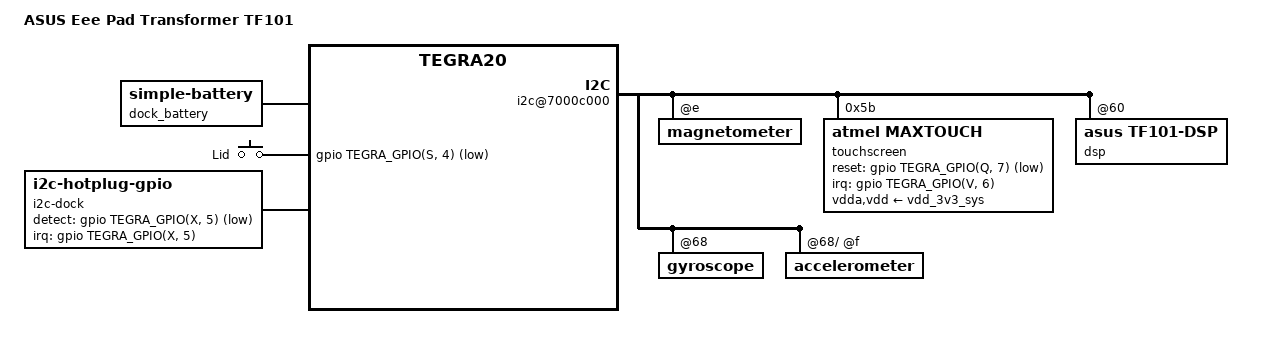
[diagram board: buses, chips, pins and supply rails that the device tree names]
// SPDX-License-Identifier: GPL-2.0
/dts-v1/;

#include "tegra20-asus-transformer-common.dtsi"

/ {
	model = "ASUS Eee Pad Transformer TF101";
	compatible = "asus,tf101", "nvidia,tegra20";

	i2c@7000c000 {
		magnetometer@e {
			mount-matrix = "-1",  "0",  "0",
					"0",  "1",  "0",
					"0",  "0", "-1";
		};

		/* Atmel MXT1386 Touchscreen */
		touchscreen@5b {
			compatible = "atmel,maxtouch";
			reg = <0x5b>;

			interrupt-parent = <&gpio>;
			interrupts = <TEGRA_GPIO(V, 6) IRQ_TYPE_LEVEL_LOW>;

			reset-gpios = <&gpio TEGRA_GPIO(Q, 7) GPIO_ACTIVE_LOW>;

			vdda-supply = <&vdd_3v3_sys>;
			vdd-supply  = <&vdd_3v3_sys>;

			atmel,wakeup-method = <ATMEL_MXT_WAKEUP_I2C_SCL>;
		};

		dsp@60 {
			compatible = "asus,tf101-dsp", "fortemedia,fm34";
		};

		gyroscope@68 {
			mount-matrix =	 "0",  "1",  "0",
					"-1",  "0",  "0",
					 "0",  "0",  "1";

			i2c-gate {
				accelerometer@f {
					mount-matrix =	"-1",  "0",  "0",
							 "0", "-1",  "0",
							 "0",  "0", "-1";
				};
			};
		};
	};

	dock_battery: battery-cell {
		compatible = "simple-battery";
		device-chemistry = "lithium-ion-polymer";
		charge-full-design-microamp-hours = <3300000>;
		energy-full-design-microwatt-hours = <24000000>;
		operating-range-celsius = <0 45>;
	};

	extcon-keys {
		compatible = "gpio-keys";

		switch-dock-hall-sensor {
			label = "Lid";
			gpios = <&gpio TEGRA_GPIO(S, 4) GPIO_ACTIVE_LOW>;
			linux,input-type = <EV_SW>;
			linux,code = <SW_LID>;
			debounce-interval = <500>;
			wakeup-event-action = <EV_ACT_ASSERTED>;
			wakeup-source;
		};
	};

	i2c-dock {
		compatible = "i2c-hotplug-gpio";

		#address-cells = <1>;
		#size-cells = <0>;

		interrupt-parent = <&gpio>;
		interrupts = <TEGRA_GPIO(X, 5) IRQ_TYPE_EDGE_BOTH>;
		detect-gpios = <&gpio TEGRA_GPIO(X, 5) GPIO_ACTIVE_LOW>;

		i2c-parent = <&lvds_ddc>;

		embedded-controller@19 {
			compatible = "asus,tf101-ec-dock";
			reg = <0x19>, <0x1b>;
			reg-names = "ec", "dockram";

			interrupt-parent = <&gpio>;
			interrupts = <TEGRA_GPIO(S, 2) IRQ_TYPE_LEVEL_LOW>;

			request-gpios = <&gpio TEGRA_GPIO(S, 3) GPIO_ACTIVE_LOW>;
		};
	};
};
